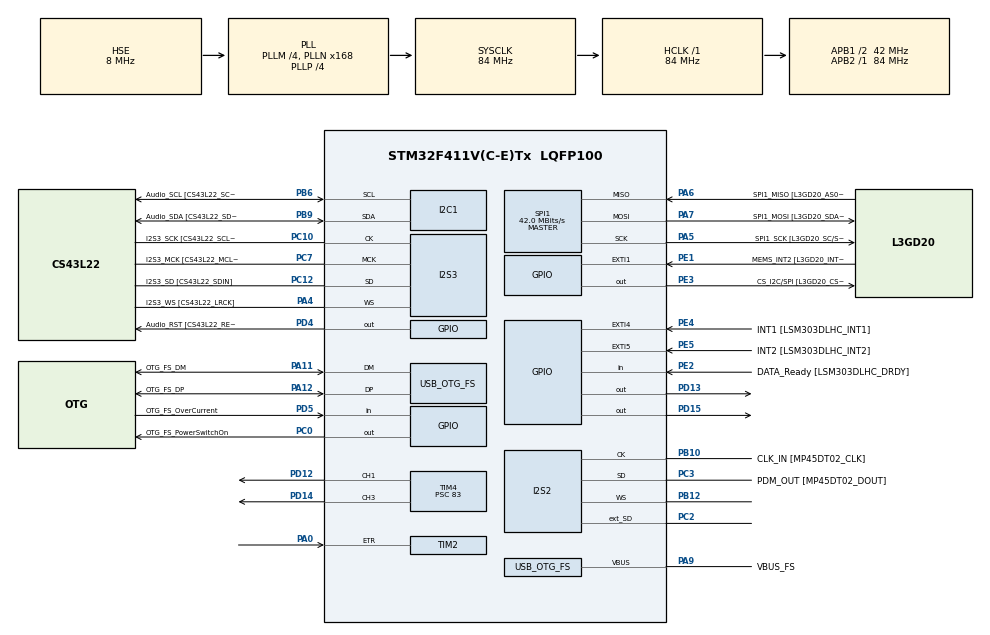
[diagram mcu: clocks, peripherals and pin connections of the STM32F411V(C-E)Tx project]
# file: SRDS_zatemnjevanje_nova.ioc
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I2S2.AudioFreq=I2S_AUDIOFREQ_96K
I2S2.ErrorAudioFreq=0.15 %
I2S2.FullDuplexMode=I2S_FULLDUPLEXMODE_ENABLE
I2S2.Instance=SPI$Index
I2S2.RealAudioFreq=96.153 KHz
I2S2.VirtualMode=I2S_MODE_MASTER
I2S3.AudioFreq=I2S_AUDIOFREQ_96K
I2S3.ErrorAudioFreq=-6.99 %
I2S3.FullDuplexMode=I2S_FULLDUPLEXMODE_DISABLE
I2S3.Instance=SPI$Index
I2S3.RealAudioFreq=89.285 KHz
I2S3.VirtualMode=I2S_MODE_MASTER
Mcu.Family=STM32F4
Mcu.Name=STM32F411V(C-E)Tx
Mcu.Package=LQFP100
NVIC.OTG_FS_IRQn=true\:0\:0\:false\:false\:true\:true\:true\:true
NVIC.PriorityGroup=NVIC_PRIORITYGROUP_0
NVIC.TIM3_IRQn=true\:0\:0\:false\:false\:true\:true\:true\:true
PA0-WKUP.Signal=S_TIM2_CH1_ETR
PA10.GPIO_Label=OTG_FS_ID
PA10.Signal=USB_OTG_FS_ID
PA11.GPIO_Label=OTG_FS_DM
PA11.Mode=Host_Only
PA11.Signal=USB_OTG_FS_DM
PA12.GPIO_Label=OTG_FS_DP
PA12.Mode=Host_Only
PA12.Signal=USB_OTG_FS_DP
PA13.GPIO_Label=SWDIO
PA13.Mode=Serial_Wire
PA13.Signal=SYS_JTMS-SWDIO
PA14.GPIO_Label=SWCLK
PA14.Mode=Serial_Wire
PA14.Signal=SYS_JTCK-SWCLK
PA4.GPIO_Label=I2S3_WS [CS43L22_LRCK]
PA4.GPIO_Mode=GPIO_MODE_AF_PP
PA4.GPIO_PuPd=GPIO_NOPULL
PA4.GPIO_Speed=GPIO_SPEED_FREQ_LOW
PA4.Mode=Half_Duplex_Master
PA4.Signal=I2S3_WS
PA5.GPIO_Label=SPI1_SCK [L3GD20_SC/SPC]
PA5.Mode=Full_Duplex_Master
PA5.Signal=SPI1_SCK
PA6.GPIO_Label=SPI1_MISO [L3GD20_AS0/SDO]
PA6.Mode=Full_Duplex_Master
PA6.Signal=SPI1_MISO
PA7.GPIO_Label=SPI1_MOSI [L3GD20_SDA/SDI/SDO]
PA7.Mode=Full_Duplex_Master
PA7.Signal=SPI1_MOSI
PA9.GPIO_Label=VBUS_FS
PA9.Mode=Activate_VBUS
PA9.Signal=USB_OTG_FS_VBUS
PB10.GPIO_Label=CLK_IN [MP45DT02_CLK]
PB10.Mode=Full_Duplex_Master
PB10.Signal=I2S2_CK
PB12.Mode=Full_Duplex_Master
PB12.Signal=I2S2_WS
PB3.GPIO_Label=SWO
PB3.Signal=SYS_JTDO-SWO
PB6.GPIO_Label=Audio_SCL [CS43L22_SCL]
PB6.GPIO_Mode=GPIO_MODE_AF_OD
PB6.GPIO_Pu=GPIO_PULLUP
PB6.GPIO_PuPd=GPIO_NOPULL
PB6.GPIO_Speed=GPIO_SPEED_FREQ_LOW
PB6.Mode=I2C
PB6.Signal=I2C1_SCL
PB9.GPIO_Label=Audio_SDA [CS43L22_SDA]
PB9.GPIO_Mode=GPIO_MODE_AF_OD
PB9.GPIO_Pu=GPIO_PULLUP
PB9.GPIO_PuPd=GPIO_NOPULL
PB9.GPIO_Speed=GPIO_SPEED_FREQ_LOW
PB9.Mode=I2C
PB9.Signal=I2C1_SDA
PC0.GPIO_Label=OTG_FS_PowerSwitchOn
PC0.PinState=GPIO_PIN_SET
PC0.Signal=GPIO_Output
PC10.GPIO_Label=I2S3_SCK [CS43L22_SCLK]
PC10.GPIO_Mode=GPIO_MODE_AF_PP
PC10.GPIO_PuPd=GPIO_NOPULL
PC10.GPIO_Speed=GPIO_SPEED_FREQ_LOW
PC10.Mode=Half_Duplex_Master
PC10.Signal=I2S3_CK
PC12.GPIO_Label=I2S3_SD [CS43L22_SDIN]
PC12.GPIO_Mode=GPIO_MODE_AF_PP
PC12.GPIO_PuPd=GPIO_NOPULL
PC12.GPIO_Speed=GPIO_SPEED_FREQ_LOW
PC12.Mode=Half_Duplex_Master
PC12.Signal=I2S3_SD
PC14-OSC32_IN.GPIO_Label=PC14-OSC32_IN
PC14-OSC32_IN.Signal=RCC_OSC32_IN
PC15-OSC32_OUT.GPIO_Label=PC15-OSC32_OUT
PC15-OSC32_OUT.Signal=RCC_OSC32_OUT
PC2.Mode=Full_Duplex_Master
PC2.Signal=I2S2_ext_SD
PC3.GPIO_Label=PDM_OUT [MP45DT02_DOUT]
PC3.Mode=Full_Duplex_Master
PC3.Signal=I2S2_SD
PC7.GPIO_Label=I2S3_MCK [CS43L22_MCLK]
PC7.GPIO_Mode=GPIO_MODE_AF_PP
PC7.GPIO_PuPd=GPIO_NOPULL
PC7.GPIO_Speed=GPIO_SPEED_FREQ_LOW
PC7.Mode=Master_Clock_Activated
PC7.Signal=I2S3_MCK
PD12.Signal=S_TIM4_CH1
PD13.Signal=GPIO_Output
PD14.Signal=S_TIM4_CH3
PD15.Signal=GPIO_Output
PD4.GPIO_Label=Audio_RST [CS43L22_RESET]
PD4.Signal=GPIO_Output
PD5.GPIO_Label=OTG_FS_OverCurrent
PD5.Signal=GPIO_Input
PE1.GPIO_Label=MEMS_INT2 [L3GD20_INT2]
PE1.GPIO_ModeDefaultEXTI=GPIO_MODE_EVT_RISING
PE1.Signal=GPXTI1
PE2.GPIO_Label=DATA_Ready [LSM303DLHC_DRDY]
PE2.Signal=GPIO_Input
PE3.GPIO_Label=CS_I2C/SPI [L3GD20_CS_I2C/SPI]
PE3.Signal=GPIO_Output
PE4.GPIO_Label=INT1 [LSM303DLHC_INT1]
PE4.GPIO_ModeDefaultEXTI=GPIO_MODE_EVT_RISING
PE4.Signal=GPXTI4
PE5.GPIO_Label=INT2 [LSM303DLHC_INT2]
PE5.GPIO_ModeDefaultEXTI=GPIO_MODE_EVT_RISING
PE5.Signal=GPXTI5
PH0\ -\ OSC_IN.GPIO_Label=PH0-OSC_IN
PH0\ -\ OSC_IN.Mode=HSE-External-Oscillator
PH0\ -\ OSC_IN.Signal=RCC_OSC_IN
PH1\ -\ OSC_OUT.GPIO_Label=PH1-OSC_OUT
PH1\ -\ OSC_OUT.Mode=HSE-External-Oscillator
PH1\ -\ OSC_OUT.Signal=RCC_OSC_OUT
ProjectManager.HeapSize=0x200
ProjectManager.StackSize=0x400
ProjectManager.TargetToolchain=STM32CubeIDE
RCC.48MHZClocksFreq_Value=48000000
RCC.AHBFreq_Value=84000000
RCC.APB1CLKDivider=RCC_HCLK_DIV2
RCC.APB1Freq_Value=42000000
RCC.APB1TimFreq_Value=84000000
RCC.APB2Freq_Value=84000000
RCC.APB2TimFreq_Value=84000000
RCC.CortexFreq_Value=84000000
RCC.HCLKFreq_Value=84000000
RCC.HSE_VALUE=8000000
RCC.HSI_VALUE=16000000
RCC.LSE_VALUE=32768
RCC.PLLI2SM=5
RCC.PLLI2SN=200
RCC.PLLM=4
RCC.PLLN=168
RCC.PLLP=RCC_PLLP_DIV4
RCC.PLLQ=7
RCC.SYSCLKFreq_VALUE=84000000
RCC.SYSCLKSource=RCC_SYSCLKSOURCE_PLLCLK
RCC.VCOOutputFreq_Value=336000000
SH.S_TIM2_CH1_ETR.0=TIM2_ETR,ClockSourceETR_Mode2
SH.S_TIM4_CH1.0=TIM4_CH1,PWM Generation1 CH1
SH.S_TIM4_CH3.0=TIM4_CH3,PWM Generation3 CH3
SPI1.BaudRatePrescaler=SPI_BAUDRATEPRESCALER_2
SPI1.CalculateBaudRate=42.0 MBits/s
SPI1.Direction=SPI_DIRECTION_2LINES
SPI1.Mode=SPI_MODE_MASTER
SPI1.VirtualType=VM_MASTER
TIM3.Period=300
TIM3.Prescaler=1
TIM4.Channel-PWM\ Generation1\ CH1=TIM_CHANNEL_1
TIM4.Channel-PWM\ Generation3\ CH3=TIM_CHANNEL_3
TIM4.Period=999
TIM4.Prescaler=83
TIM4.Pulse-PWM\ Generation1\ CH1=100
TIM4.Pulse-PWM\ Generation3\ CH3=400
USB_HOST.BSP.number=1
USB_HOST.USBH_HandleTypeDef=hUsbHostFS
USB_HOST.VirtualModeFS=Cdc
USB_HOST0.BSP.STBoard=false
USB_HOST0.BSP.api=Unknown
USB_HOST0.BSP.instance=PC0
USB_HOST0.BSP.ip=GPIO
USB_HOST0.BSP.mode=Output
USB_HOST0.BSP.name=Drive_VBUS_FS
USB_HOST0.BSP.solution=PC0
USB_OTG_FS.VirtualMode=Host_Only
USB_OTG_FS.phy_itface=HCD_PHY_EMBEDDED
VP_TIM3_VS_ClockSourceINT.Mode=Internal
VP_TIM4_VS_ClockSourceINT.Mode=Internal
VP_USB_HOST_VS_USB_HOST_CDC_FS.Mode=CDC_FS
board=STM32F411E-DISCO

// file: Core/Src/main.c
/* USER CODE BEGIN Header */
/**
  ******************************************************************************
  * @file           : main.c
  * @brief          : Main program body
  ******************************************************************************
  * @attention
  *
  * Copyright (c) 2023 STMicroelectronics.
  * All rights reserved.
  *
  * This software is licensed under terms that can be found in the LICENSE file
  * in the root directory of this software component.
  * If no LICENSE file comes with this software, it is provided AS-IS.
  *
  ******************************************************************************
  */
/* USER CODE END Header */
#include "main.h"
#include "usb_host.h"

/* USER CODE BEGIN Includes */
#include <stdbool.h>
/* USER CODE END Includes */

I2C_HandleTypeDef hi2c1;

I2S_HandleTypeDef hi2s2;
I2S_HandleTypeDef hi2s3;

SPI_HandleTypeDef hspi1;

TIM_HandleTypeDef htim2;
TIM_HandleTypeDef htim3;
TIM_HandleTypeDef htim4;

/* USER CODE BEGIN PV */
uint8_t brightnessLevel = 0;

uint32_t trenutniCas = 0;
uint32_t casIzklopa = 500;
uint32_t perioda = 500;
uint32_t casVklopa = 0;

uint32_t vrednostPritiska = 0;

bool increasing = true;
#define MAX_BRIGHTNESS_LEVELS 10
#define MAX_PWM_VALUE 1000

const uint16_t brightnessLevels[MAX_BRIGHTNESS_LEVELS] = {0, 3, 9, 27, 81, 150, 250, 400, 600, MAX_PWM_VALUE};
/* USER CODE END PV */

void SystemClock_Config(void);
void PeriphCommonClock_Config(void);
static void MX_GPIO_Init(void);
static void MX_I2C1_Init(void);
static void MX_I2S2_Init(void);
static void MX_I2S3_Init(void);
static void MX_SPI1_Init(void);
static void MX_TIM3_Init(void);
static void MX_TIM4_Init(void);
static void MX_TIM2_Init(void);
void MX_USB_HOST_Process(void);

/* USER CODE BEGIN PFP */

//void HAL_TIM_PeriodElapsedCallback(TIM_HandleTypeDef *htim); // "callback" funkcija za "overflow" periode na casovniku
void HAL_GPIO_EXTI_Callback(uint16_t GPIO_Pin); // "callback" funkcija za zunanjo prekinitev

/* USER CODE END PFP */

/* USER CODE BEGIN 0 */

//void HAL_TIM_PeriodElapsedCallback(TIM_HandleTypeDef *htim) {

  // preveri ali je prekinitev klicana iz casovnika 3
//  if (htim->Instance == TIM3) {
//    HAL_GPIO_TogglePin(GPIOD, GPIO_PIN_15);
//  }
//}

void updateBrightness(uint8_t level) {
    uint16_t pwm_value = brightnessLevels[level];
    // Update PWM duty cycle
    __HAL_TIM_SET_COMPARE(&htim4, TIM_CHANNEL_1, pwm_value);
    __HAL_TIM_SET_COMPARE(&htim4, TIM_CHANNEL_2, pwm_value);
    __HAL_TIM_SET_COMPARE(&htim4, TIM_CHANNEL_3, pwm_value);
    __HAL_TIM_SET_COMPARE(&htim4, TIM_CHANNEL_4, pwm_value);
}

/*void HAL_GPIO_EXTI_Callback(uint16_t GPIO_Pin) {
    if (GPIO_Pin == GPIO_PIN_0) {		// ali je gumb pritisnjen
        if (increasing) {
            brightnessLevel++;
            if (brightnessLevel >= MAX_BRIGHTNESS_LEVELS - 1) {		// potem je na max svetlosti in mora decreasat
                increasing = false;
            }
        } else {
            if (brightnessLevel > 0) {
                brightnessLevel--;
            }
            if (brightnessLevel == 0) {								// je na min svetlosti in mora increasat
                increasing = true;
            }
        }
        updateBrightness(brightnessLevel);

        // Debounce delay
        // HAL_Delay(10);

    }
}*/

void HAL_TIM_PeriodElapsedCallback(TIM_HandleTypeDef *htim)
{

	if (htim->Instance == TIM3)
	    {
			trenutniCas++;

			if (trenutniCas <= casVklopa) {
				HAL_GPIO_WritePin(GPIOD, GPIO_PIN_13 | GPIO_PIN_15, GPIO_PIN_SET);
			} else {
				HAL_GPIO_WritePin(GPIOD, GPIO_PIN_13 | GPIO_PIN_15, GPIO_PIN_RESET);
			}

			if (trenutniCas >= perioda) {
				trenutniCas = 0;
			}
		}

}

/* USER CODE END 0 */

int main(void)
{

  /* MCU Configuration--------------------------------------------------------*/

  /* Reset of all peripherals, Initializes the Flash interface and the Systick. */
  HAL_Init();

  /* Configure the system clock */
  SystemClock_Config();

/* Configure the peripherals common clocks */
  PeriphCommonClock_Config();

  /* Initialize all configured peripherals */
  MX_GPIO_Init();
  MX_I2C1_Init();
  MX_I2S2_Init();
  MX_I2S3_Init();
  MX_SPI1_Init();
  MX_USB_HOST_Init();
  MX_TIM3_Init();
  MX_TIM4_Init();
  MX_TIM2_Init();
  /* USER CODE BEGIN 2 */

  // zazenemo casovnik
  HAL_TIM_Base_Start(&htim4);
  // zazenemo casovnik z izvedbo prekinitve
  HAL_TIM_Base_Start_IT(&htim3);
  HAL_TIM_Base_Start(&htim2);

  // zazenemo PWM - neinvertirani izhodi
  HAL_TIM_PWM_Start(&htim4, TIM_CHANNEL_1);
  HAL_TIM_PWM_Start(&htim4, TIM_CHANNEL_2);
  HAL_TIM_PWM_Start(&htim4, TIM_CHANNEL_3);
  HAL_TIM_PWM_Start(&htim4, TIM_CHANNEL_4);
  HAL_NVIC_EnableIRQ(TIM2_IRQn);
  // primer nastavljanja aktivne periode PWM iz programske kode
  TIM4->CCR4 = 10; // za kanal 4

  /* USER CODE END 2 */

  /* Infinite loop */
  /* USER CODE BEGIN WHILE */

  while (1)
  {
	  uint32_t vrednost = __HAL_TIM_GET_COUNTER(&htim2);

	  if (vrednostPritiska != vrednost) {
		  // tipka je bila pritisnjena, zato se je vrednost od prejšnje spremenila

		  vrednostPritiska = vrednost;

		  if (increasing) {
			  brightnessLevel++;
				if (brightnessLevel >= 9) {		// potem je na max svetlosti in mora decreasat
					increasing = false;
				}
			} else {
				if (brightnessLevel > 0) {
					brightnessLevel--;
				}
				if (brightnessLevel == 0) {								// je na min svetlosti in mora increasat
					increasing = true;
				}
			}
	  }

	  updateBrightness(brightnessLevel);

	  casVklopa = (brightnessLevels[brightnessLevel] / 2);
	  casIzklopa = perioda - casVklopa;

    /* USER CODE END WHILE */
    MX_USB_HOST_Process();

  }
}

void SystemClock_Config(void)
{
  RCC_OscInitTypeDef RCC_OscInitStruct = {0};
  RCC_ClkInitTypeDef RCC_ClkInitStruct = {0};

  /** Configure the main internal regulator output voltage
  */
  __HAL_RCC_PWR_CLK_ENABLE();
  __HAL_PWR_VOLTAGESCALING_CONFIG(PWR_REGULATOR_VOLTAGE_SCALE1);

  /** Initializes the RCC Oscillators according to the specified parameters
  * in the RCC_OscInitTypeDef structure.
  */
  RCC_OscInitStruct.OscillatorType = RCC_OSCILLATORTYPE_HSE;
  RCC_OscInitStruct.HSEState = RCC_HSE_ON;
  RCC_OscInitStruct.PLL.PLLState = RCC_PLL_ON;
  RCC_OscInitStruct.PLL.PLLSource = RCC_PLLSOURCE_HSE;
  RCC_OscInitStruct.PLL.PLLM = 4;
  RCC_OscInitStruct.PLL.PLLN = 168;
  RCC_OscInitStruct.PLL.PLLP = RCC_PLLP_DIV4;
  RCC_OscInitStruct.PLL.PLLQ = 7;
  if (HAL_RCC_OscConfig(&RCC_OscInitStruct) != HAL_OK)
  {
    Error_Handler();
  }

  /** Initializes the CPU, AHB and APB buses clocks
  */
  RCC_ClkInitStruct.ClockType = RCC_CLOCKTYPE_HCLK|RCC_CLOCKTYPE_SYSCLK
                              |RCC_CLOCKTYPE_PCLK1|RCC_CLOCKTYPE_PCLK2;
  RCC_ClkInitStruct.SYSCLKSource = RCC_SYSCLKSOURCE_PLLCLK;
  RCC_ClkInitStruct.AHBCLKDivider = RCC_SYSCLK_DIV1;
  RCC_ClkInitStruct.APB1CLKDivider = RCC_HCLK_DIV2;
  RCC_ClkInitStruct.APB2CLKDivider = RCC_HCLK_DIV1;

  if (HAL_RCC_ClockConfig(&RCC_ClkInitStruct, FLASH_LATENCY_2) != HAL_OK)
  {
    Error_Handler();
  }
}

void PeriphCommonClock_Config(void)
{
  RCC_PeriphCLKInitTypeDef PeriphClkInitStruct = {0};

  /** Initializes the peripherals clock
  */
  PeriphClkInitStruct.PeriphClockSelection = RCC_PERIPHCLK_I2S;
  PeriphClkInitStruct.PLLI2S.PLLI2SN = 200;
  PeriphClkInitStruct.PLLI2S.PLLI2SM = 5;
  PeriphClkInitStruct.PLLI2S.PLLI2SR = 2;
  if (HAL_RCCEx_PeriphCLKConfig(&PeriphClkInitStruct) != HAL_OK)
  {
    Error_Handler();
  }
}

static void MX_I2C1_Init(void)
{

  hi2c1.Instance = I2C1;
  hi2c1.Init.ClockSpeed = 100000;
  hi2c1.Init.DutyCycle = I2C_DUTYCYCLE_2;
  hi2c1.Init.OwnAddress1 = 0;
  hi2c1.Init.AddressingMode = I2C_ADDRESSINGMODE_7BIT;
  hi2c1.Init.DualAddressMode = I2C_DUALADDRESS_DISABLE;
  hi2c1.Init.OwnAddress2 = 0;
  hi2c1.Init.GeneralCallMode = I2C_GENERALCALL_DISABLE;
  hi2c1.Init.NoStretchMode = I2C_NOSTRETCH_DISABLE;
  if (HAL_I2C_Init(&hi2c1) != HAL_OK)
  {
    Error_Handler();
  }

}

static void MX_I2S2_Init(void)
{

  hi2s2.Instance = SPI2;
  hi2s2.Init.Mode = I2S_MODE_MASTER_TX;
  hi2s2.Init.Standard = I2S_STANDARD_PHILIPS;
  hi2s2.Init.DataFormat = I2S_DATAFORMAT_16B;
  hi2s2.Init.MCLKOutput = I2S_MCLKOUTPUT_DISABLE;
  hi2s2.Init.AudioFreq = I2S_AUDIOFREQ_96K;
  hi2s2.Init.CPOL = I2S_CPOL_LOW;
  hi2s2.Init.ClockSource = I2S_CLOCK_PLL;
  hi2s2.Init.FullDuplexMode = I2S_FULLDUPLEXMODE_ENABLE;
  if (HAL_I2S_Init(&hi2s2) != HAL_OK)
  {
    Error_Handler();
  }

}

static void MX_I2S3_Init(void)
{

  hi2s3.Instance = SPI3;
  hi2s3.Init.Mode = I2S_MODE_MASTER_TX;
  hi2s3.Init.Standard = I2S_STANDARD_PHILIPS;
  hi2s3.Init.DataFormat = I2S_DATAFORMAT_16B;
  hi2s3.Init.MCLKOutput = I2S_MCLKOUTPUT_ENABLE;
  hi2s3.Init.AudioFreq = I2S_AUDIOFREQ_96K;
  hi2s3.Init.CPOL = I2S_CPOL_LOW;
  hi2s3.Init.ClockSource = I2S_CLOCK_PLL;
  hi2s3.Init.FullDuplexMode = I2S_FULLDUPLEXMODE_DISABLE;
  if (HAL_I2S_Init(&hi2s3) != HAL_OK)
  {
    Error_Handler();
  }

}

static void MX_SPI1_Init(void)
{

  /* SPI1 parameter configuration*/
  hspi1.Instance = SPI1;
  hspi1.Init.Mode = SPI_MODE_MASTER;
  hspi1.Init.Direction = SPI_DIRECTION_2LINES;
  hspi1.Init.DataSize = SPI_DATASIZE_8BIT;
  hspi1.Init.CLKPolarity = SPI_POLARITY_LOW;
  hspi1.Init.CLKPhase = SPI_PHASE_1EDGE;
  hspi1.Init.NSS = SPI_NSS_SOFT;
  hspi1.Init.BaudRatePrescaler = SPI_BAUDRATEPRESCALER_2;
  hspi1.Init.FirstBit = SPI_FIRSTBIT_MSB;
  hspi1.Init.TIMode = SPI_TIMODE_DISABLE;
  hspi1.Init.CRCCalculation = SPI_CRCCALCULATION_DISABLE;
  hspi1.Init.CRCPolynomial = 10;
  if (HAL_SPI_Init(&hspi1) != HAL_OK)
  {
    Error_Handler();
  }

}

static void MX_TIM2_Init(void)
{

  TIM_ClockConfigTypeDef sClockSourceConfig = {0};
  TIM_MasterConfigTypeDef sMasterConfig = {0};

  htim2.Instance = TIM2;
  htim2.Init.Prescaler = 0;
  htim2.Init.CounterMode = TIM_COUNTERMODE_UP;
  htim2.Init.Period = 4294967295;
  htim2.Init.ClockDivision = TIM_CLOCKDIVISION_DIV1;
  htim2.Init.AutoReloadPreload = TIM_AUTORELOAD_PRELOAD_DISABLE;
  if (HAL_TIM_Base_Init(&htim2) != HAL_OK)
  {
    Error_Handler();
  }
  sClockSourceConfig.ClockSource = TIM_CLOCKSOURCE_ETRMODE2;
  sClockSourceConfig.ClockPolarity = TIM_CLOCKPOLARITY_NONINVERTED;
  sClockSourceConfig.ClockPrescaler = TIM_CLOCKPRESCALER_DIV1;
  sClockSourceConfig.ClockFilter = 0;
  if (HAL_TIM_ConfigClockSource(&htim2, &sClockSourceConfig) != HAL_OK)
  {
    Error_Handler();
  }
  sMasterConfig.MasterOutputTrigger = TIM_TRGO_RESET;
  sMasterConfig.MasterSlaveMode = TIM_MASTERSLAVEMODE_DISABLE;
  if (HAL_TIMEx_MasterConfigSynchronization(&htim2, &sMasterConfig) != HAL_OK)
  {
    Error_Handler();
  }

}

static void MX_TIM3_Init(void)
{

  TIM_ClockConfigTypeDef sClockSourceConfig = {0};
  TIM_MasterConfigTypeDef sMasterConfig = {0};

  htim3.Instance = TIM3;
  htim3.Init.Prescaler = 1;
  htim3.Init.CounterMode = TIM_COUNTERMODE_UP;
  htim3.Init.Period = 300;
  htim3.Init.ClockDivision = TIM_CLOCKDIVISION_DIV1;
  htim3.Init.AutoReloadPreload = TIM_AUTORELOAD_PRELOAD_DISABLE;
  if (HAL_TIM_Base_Init(&htim3) != HAL_OK)
  {
    Error_Handler();
  }
  sClockSourceConfig.ClockSource = TIM_CLOCKSOURCE_INTERNAL;
  if (HAL_TIM_ConfigClockSource(&htim3, &sClockSourceConfig) != HAL_OK)
  {
    Error_Handler();
  }
  sMasterConfig.MasterOutputTrigger = TIM_TRGO_RESET;
  sMasterConfig.MasterSlaveMode = TIM_MASTERSLAVEMODE_DISABLE;
  if (HAL_TIMEx_MasterConfigSynchronization(&htim3, &sMasterConfig) != HAL_OK)
  {
    Error_Handler();
  }

}

static void MX_TIM4_Init(void)
{

  TIM_ClockConfigTypeDef sClockSourceConfig = {0};
  TIM_MasterConfigTypeDef sMasterConfig = {0};
  TIM_OC_InitTypeDef sConfigOC = {0};

  htim4.Instance = TIM4;
  htim4.Init.Prescaler = 83;
  htim4.Init.CounterMode = TIM_COUNTERMODE_UP;
  htim4.Init.Period = 999;
  htim4.Init.ClockDivision = TIM_CLOCKDIVISION_DIV1;
  htim4.Init.AutoReloadPreload = TIM_AUTORELOAD_PRELOAD_DISABLE;
  if (HAL_TIM_Base_Init(&htim4) != HAL_OK)
  {
    Error_Handler();
  }
  sClockSourceConfig.ClockSource = TIM_CLOCKSOURCE_INTERNAL;
  if (HAL_TIM_ConfigClockSource(&htim4, &sClockSourceConfig) != HAL_OK)
  {
    Error_Handler();
  }
  if (HAL_TIM_PWM_Init(&htim4) != HAL_OK)
  {
    Error_Handler();
  }
  sMasterConfig.MasterOutputTrigger = TIM_TRGO_RESET;
  sMasterConfig.MasterSlaveMode = TIM_MASTERSLAVEMODE_DISABLE;
  if (HAL_TIMEx_MasterConfigSynchronization(&htim4, &sMasterConfig) != HAL_OK)
  {
    Error_Handler();
  }
  sConfigOC.OCMode = TIM_OCMODE_PWM1;
  sConfigOC.Pulse = 100;
  sConfigOC.OCPolarity = TIM_OCPOLARITY_HIGH;
  sConfigOC.OCFastMode = TIM_OCFAST_DISABLE;
  if (HAL_TIM_PWM_ConfigChannel(&htim4, &sConfigOC, TIM_CHANNEL_1) != HAL_OK)
  {
    Error_Handler();
  }
  sConfigOC.Pulse = 400;
  if (HAL_TIM_PWM_ConfigChannel(&htim4, &sConfigOC, TIM_CHANNEL_3) != HAL_OK)
  {
    Error_Handler();
  }
  HAL_TIM_MspPostInit(&htim4);

}

static void MX_GPIO_Init(void)
{
  GPIO_InitTypeDef GPIO_InitStruct = {0};

  /* GPIO Ports Clock Enable */
  __HAL_RCC_GPIOE_CLK_ENABLE();
  __HAL_RCC_GPIOC_CLK_ENABLE();
  __HAL_RCC_GPIOH_CLK_ENABLE();
  __HAL_RCC_GPIOA_CLK_ENABLE();
  __HAL_RCC_GPIOB_CLK_ENABLE();
  __HAL_RCC_GPIOD_CLK_ENABLE();

  /*Configure GPIO pin Output Level */
  HAL_GPIO_WritePin(CS_I2C_SPI_GPIO_Port, CS_I2C_SPI_Pin, GPIO_PIN_RESET);

  /*Configure GPIO pin Output Level */
  HAL_GPIO_WritePin(OTG_FS_PowerSwitchOn_GPIO_Port, OTG_FS_PowerSwitchOn_Pin, GPIO_PIN_SET);

  /*Configure GPIO pin Output Level */
  HAL_GPIO_WritePin(GPIOD, GPIO_PIN_13|GPIO_PIN_15|Audio_RST_Pin, GPIO_PIN_RESET);

  /*Configure GPIO pin : DATA_Ready_Pin */
  GPIO_InitStruct.Pin = DATA_Ready_Pin;
  GPIO_InitStruct.Mode = GPIO_MODE_INPUT;
  GPIO_InitStruct.Pull = GPIO_NOPULL;
  HAL_GPIO_Init(DATA_Ready_GPIO_Port, &GPIO_InitStruct);

  /*Configure GPIO pin : CS_I2C_SPI_Pin */
  GPIO_InitStruct.Pin = CS_I2C_SPI_Pin;
  GPIO_InitStruct.Mode = GPIO_MODE_OUTPUT_PP;
  GPIO_InitStruct.Pull = GPIO_NOPULL;
  GPIO_InitStruct.Speed = GPIO_SPEED_FREQ_LOW;
  HAL_GPIO_Init(CS_I2C_SPI_GPIO_Port, &GPIO_InitStruct);

  /*Configure GPIO pins : INT1_Pin INT2_Pin MEMS_INT2_Pin */
  GPIO_InitStruct.Pin = INT1_Pin|INT2_Pin|MEMS_INT2_Pin;
  GPIO_InitStruct.Mode = GPIO_MODE_EVT_RISING;
  GPIO_InitStruct.Pull = GPIO_NOPULL;
  HAL_GPIO_Init(GPIOE, &GPIO_InitStruct);

  /*Configure GPIO pin : OTG_FS_PowerSwitchOn_Pin */
  GPIO_InitStruct.Pin = OTG_FS_PowerSwitchOn_Pin;
  GPIO_InitStruct.Mode = GPIO_MODE_OUTPUT_PP;
  GPIO_InitStruct.Pull = GPIO_NOPULL;
  GPIO_InitStruct.Speed = GPIO_SPEED_FREQ_LOW;
  HAL_GPIO_Init(OTG_FS_PowerSwitchOn_GPIO_Port, &GPIO_InitStruct);

  /*Configure GPIO pins : PD13 PD15 Audio_RST_Pin */
  GPIO_InitStruct.Pin = GPIO_PIN_13|GPIO_PIN_15|Audio_RST_Pin;
  GPIO_InitStruct.Mode = GPIO_MODE_OUTPUT_PP;
  GPIO_InitStruct.Pull = GPIO_NOPULL;
  GPIO_InitStruct.Speed = GPIO_SPEED_FREQ_LOW;
  HAL_GPIO_Init(GPIOD, &GPIO_InitStruct);

  /*Configure GPIO pin : OTG_FS_OverCurrent_Pin */
  GPIO_InitStruct.Pin = OTG_FS_OverCurrent_Pin;
  GPIO_InitStruct.Mode = GPIO_MODE_INPUT;
  GPIO_InitStruct.Pull = GPIO_NOPULL;
  HAL_GPIO_Init(OTG_FS_OverCurrent_GPIO_Port, &GPIO_InitStruct);

}

void Error_Handler(void)
{
  __disable_irq();
  while (1)
  {
  }
}
